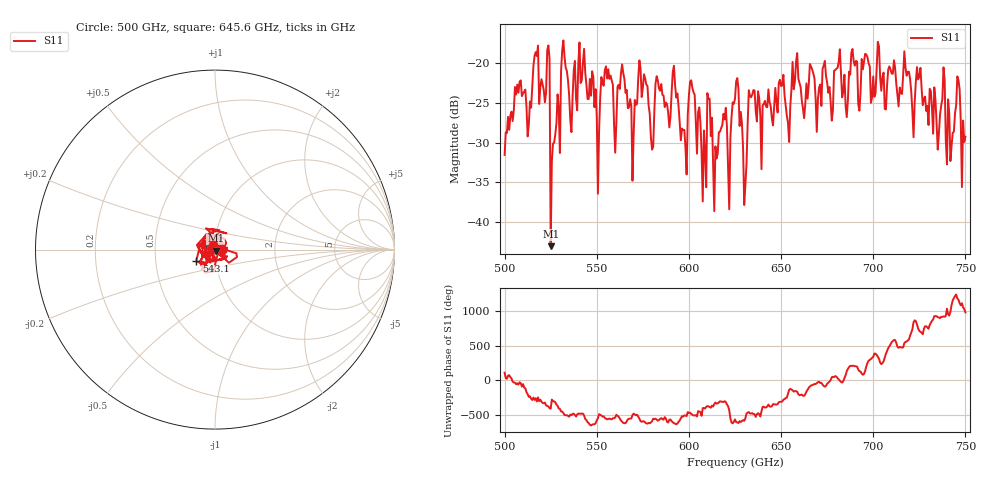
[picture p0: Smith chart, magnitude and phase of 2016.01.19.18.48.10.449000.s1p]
!Created with skrf (http://scikit-rf.org).
# GHz S RI R 50.0
!freq ReS11 ImS11
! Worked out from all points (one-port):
!   401 points, 500 GHz to 750 GHz, reference 50 ohm
!   lowest |S11| = -43.0 dB at 525 GHz (marker M1), VSWR 1.01, Z = 50.5 - j0.542 ohm
!   |S11| at or under -10 dB: start of sweep to end of sweep
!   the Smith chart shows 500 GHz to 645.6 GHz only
!   S11 on the Smith chart (normalised r, x): 500 GHz: 0.98, +0.05; 543.1 GHz: 0.80, -0.11; 645.6 GHz: 1.08, +0.02
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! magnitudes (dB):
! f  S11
! 500 GHz  -31.5
! 513.1 GHz  -27.8
! 516.9 GHz  -18.6
! 523.1 GHz  -18.4
! 525 GHz  -43.0
! 526.2 GHz  -30.1
! 531.2 GHz  -18.4
! 543.1 GHz  -18.2
! 550 GHz  -26.8
! 562.5 GHz  -23.2
! 568.8 GHz  -25.4
! 574.4 GHz  -24.3
! 580 GHz  -30.9
! 583.1 GHz  -22.2
! 593.8 GHz  -23.8
! 597.5 GHz  -28.4
! 601.9 GHz  -23.1
! 608.1 GHz  -28.5
! 611.2 GHz  -24.5
! 614.4 GHz  -30.5
! 625 GHz  -24.5
! 630 GHz  -37.8
! 633.8 GHz  -24.3
! 645.6 GHz  -27.8
! 656.2 GHz  -19.8
! 687.5 GHz  -21.4
! 718.8 GHz  -21.1
! 750 GHz  -29.3
